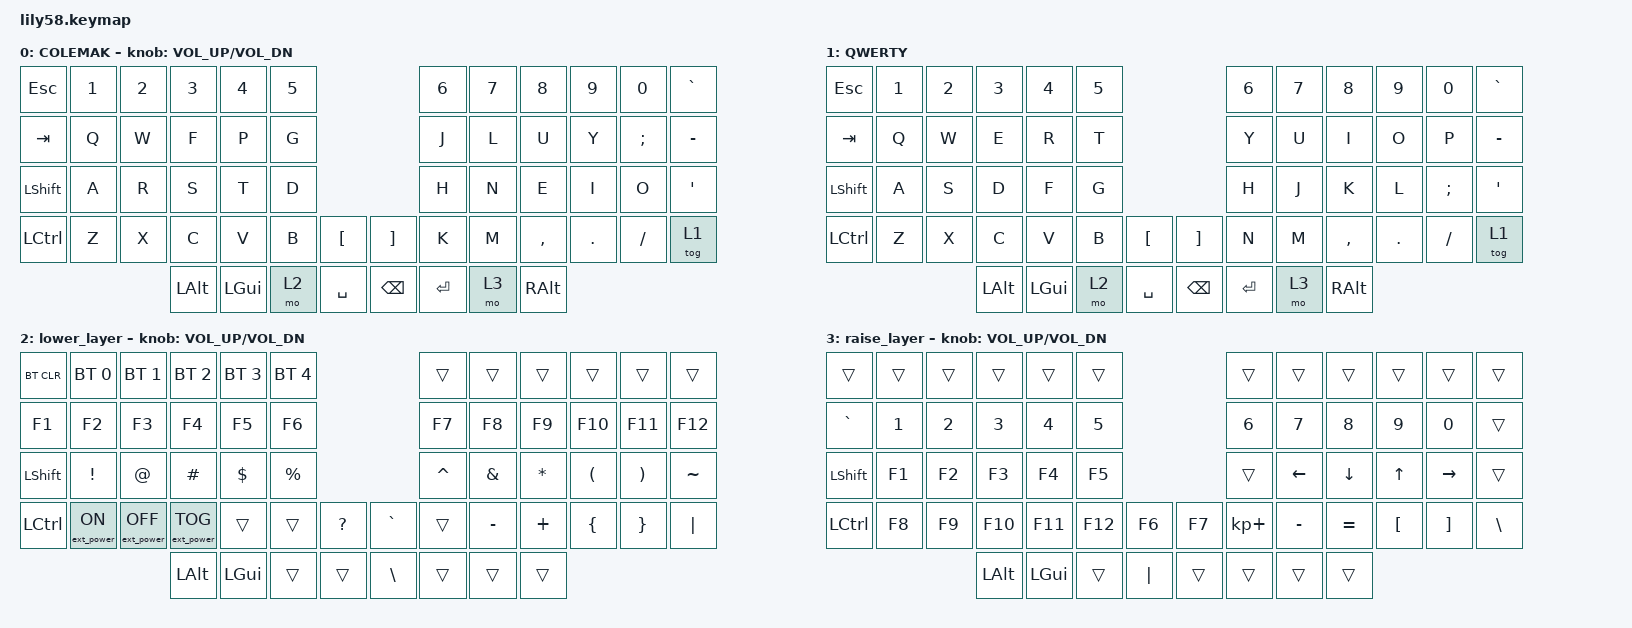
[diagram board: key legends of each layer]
/*
 * Copyright (c) 2020 The ZMK Contributors
 *
 * SPDX-License-Identifier: MIT
 */

#include <behaviors.dtsi>
#include <dt-bindings/zmk/bt.h>
#include <dt-bindings/zmk/ext_power.h>
#include <dt-bindings/zmk/keys.h>

/ {
    keymap {
        compatible = "zmk,keymap";

        COLEMAK {
            // ------------------------------------------------------------------------------------------------------------
            // |  ESC  |  1  |  2  |  3   |  4   |  5   |                   |  6   |  7    |  8    |  9   |   0   |   `   |
            // |  TAB  |  Q  |  W  |  E   |  R   |  T   |                   |  Y   |  U    |  I    |  O   |   P   |   -   |
            // |  CTRL |  A  |  S  |  D   |  F   |  G   |                   |  H   |  J    |  K    |  L   |   ;   |   '   |
            // | SHIFT |  Z  |  X  |  C   |  V   |  B   |   "["  |  |  "]"  |  N   |  M    |  ,    |  .   |   /   | SHIFT |
            //                     | ALT  | GUI  | LOWER|  SPACE |  | ENTER | RAISE| BSPC  | GUI   |

            bindings = <
&kp ESC           &kp N1  &kp N2  &kp N3    &kp N4    &kp N5                         &kp N6     &kp N7  &kp N8         &kp N9   &kp N0    &kp GRAVE
&kp TAB           &kp Q   &kp W   &kp F     &kp P     &kp G                          &kp J      &kp L   &kp U          &kp Y    &kp SEMI  &kp MINUS
&kp LEFT_SHIFT    &kp A   &kp R   &kp S     &kp T     &kp D                          &kp H      &kp N   &kp E          &kp I    &kp O     &kp APOS
&kp LEFT_CONTROL  &kp Z   &kp X   &kp C     &kp V     &kp B   &kp LBKT     &kp RBKT  &kp K      &kp M   &kp COMMA      &kp DOT  &kp FSLH  &tog 1
                                  &kp LALT  &kp LGUI  &mo 2   &kp SPACE    &kp BSPC  &kp ENTER  &mo 3   &kp RIGHT_ALT
            >;

            sensor-bindings = <&inc_dec_kp C_VOL_UP C_VOL_DN>;
        };

        QWERTY {
            bindings = <
&kp ESC           &kp N1  &kp N2  &kp N3    &kp N4    &kp N5                                         &kp N6     &kp N7  &kp N8         &kp N9   &kp N0    &kp GRAVE
&kp TAB           &kp Q   &kp W   &kp E     &kp R     &kp T                                          &kp Y      &kp U   &kp I          &kp O    &kp P     &kp MINUS
&kp LEFT_SHIFT    &kp A   &kp S   &kp D     &kp F     &kp G                                          &kp H      &kp J   &kp K          &kp L    &kp SEMI  &kp SINGLE_QUOTE
&kp LEFT_CONTROL  &kp Z   &kp X   &kp C     &kp V     &kp B   &kp LEFT_BRACKET    &kp RIGHT_BRACKET  &kp N      &kp M   &kp COMMA      &kp DOT  &kp FSLH  &tog 1
                                  &kp LALT  &kp LGUI  &mo 2   &kp SPACE           &kp BSPC           &kp ENTER  &mo 3   &kp RIGHT_ALT
            >;
        };

        lower_layer {
            // ------------------------------------------------------------------------------------------------------------
            // | BTCLR | BT1 | BT2 |  BT3 |  BT4 |  BT5 |                   |      |       |       |      |       |       |
            // |  F1   |  F2 |  F3 |  F4  |  F5  |  F6  |                   |  F7  |  F8   |  F9   |  F10 |  F11  |  F12  |
            // |   `   |  !  |  @  |  #   |  $   |  %   |                   |  ^   |  &    |  *    |  (   |   )   |   ~   |
            // |       |     |     |      |      |      |        |  |       |      |  _    |  +    |  {   |   }   |  "|"  |
            //                     |      |      |      |        |  |       |      |       |       |

            bindings = <
&bt BT_CLR        &bt BT_SEL 0      &bt BT_SEL 1       &bt BT_SEL 2       &bt BT_SEL 3  &bt BT_SEL 4                                 &trans     &trans     &trans     &trans    &trans    &trans
&kp F1            &kp F2            &kp F3             &kp F4             &kp F5        &kp F6                                       &kp F7     &kp F8     &kp F9     &kp F10   &kp F11   &kp F12
&kp LEFT_SHIFT    &kp EXCL          &kp AT             &kp HASH           &kp DOLLAR    &kp PRCNT                                    &kp CARET  &kp AMPS   &kp ASTRK  &kp LPAR  &kp RPAR  &kp TILDE
&kp LEFT_CONTROL  &ext_power EP_ON  &ext_power EP_OFF  &ext_power EP_TOG  &trans        &trans        &kp QUESTION    &kp GRAVE      &trans     &kp MINUS  &kp PLUS   &kp LBRC  &kp RBRC  &kp PIPE
                                                       &kp LEFT_ALT       &kp LEFT_GUI  &trans        &trans          &kp BACKSLASH  &trans     &trans     &trans
            >;

            sensor-bindings = <&inc_dec_kp C_VOL_UP C_VOL_DN>;
        };

        raise_layer {
            // ------------------------------------------------------------------------------------------------------------
            // |       |     |     |      |      |      |                   |      |       |       |      |       |       |
            // |   `   |  1  |  2  |  3   |  4   |  5   |                   |  6   |   7   |   8   |  9   |   0   |       |
            // |   F1  |  F2 |  F3 |  F4  |  F5  |  F6  |                   |      |   <-  |   v   |  ^   |  ->   |       |
            // |   F7  |  F8 |  F9 |  F10 |  F11 |  F12 |        |  |       |  +   |   -   |   =   |  [   |   ]   |   \   |
            //                     |      |      |      |        |  |       |      |       |       |

            bindings = <
&trans            &trans  &trans  &trans        &trans        &trans                       &trans       &trans     &trans     &trans    &trans     &trans
&kp GRAVE         &kp N1  &kp N2  &kp N3        &kp N4        &kp N5                       &kp N6       &kp N7     &kp N8     &kp N9    &kp N0     &trans
&kp LEFT_SHIFT    &kp F1  &kp F2  &kp F3        &kp F4        &kp F5                       &trans       &kp LEFT   &kp DOWN   &kp UP    &kp RIGHT  &trans
&kp LEFT_CONTROL  &kp F8  &kp F9  &kp F10       &kp F11       &kp F12  &kp F6      &kp F7  &kp KP_PLUS  &kp MINUS  &kp EQUAL  &kp LBKT  &kp RBKT   &kp BSLH
                                  &kp LEFT_ALT  &kp LEFT_GUI  &trans   &kp PIPE    &trans  &trans       &trans     &trans
            >;

            sensor-bindings = <&inc_dec_kp C_VOL_UP C_VOL_DN>;
        };
    };
};
